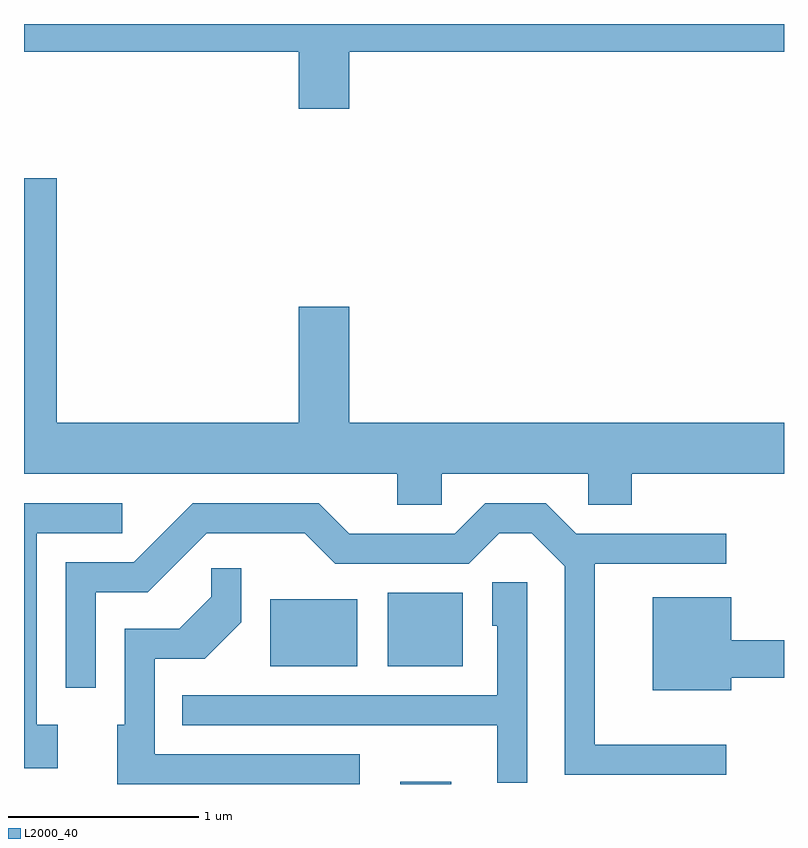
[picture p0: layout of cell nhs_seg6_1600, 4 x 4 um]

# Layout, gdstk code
import gdstk
lib = gdstk.Library(unit=1e-6, precision=1e-09)
def R(c, l, rs):  # rectangles x0, y0, x1, y1
    for r in rs: c.add(gdstk.rectangle(r[:2], r[2:], *l))
def P(c, l, *ps):  # polygons
    for p in ps: c.add(gdstk.Polygon(p, *l))
L2000_40 = (2000, 40)

nhs_seg6_1600 = lib.new_cell('nhs_seg6_1600')
R(nhs_seg6_1600, L2000_40, [(235.591,1566.162,235.859,1566.174), (234.906,1566.781,235.364,1567.134), (235.526,1566.781,235.919,1567.169)])
P(nhs_seg6_1600, L2000_40, [(235.324,1570.016),(237.611,1570.016),(237.611,1570.162),(233.611,1570.162),(233.611,1570.016),(235.056,1570.016),(235.056,1569.716),(235.324,1569.716)],
  [(235.809,1567.796),(236.581,1567.796),(236.581,1567.631),(236.809,1567.631),(236.809,1567.796),(237.611,1567.796),(237.611,1568.064),(235.324,1568.064),(235.324,1568.674),(235.056,1568.674),(235.056,1568.064),(233.784,1568.064),(233.784,1569.349),(233.611,1569.349),(233.611,1567.796),(235.576,1567.796),(235.576,1567.631),(235.809,1567.631)],
  [(237.308,1566.369),(236.614,1566.369),(236.614,1567.321),(237.308,1567.321),(237.308,1567.479),(236.517,1567.479),(236.357,1567.639),(236.039,1567.639),(235.879,1567.479),(235.322,1567.479),(235.162,1567.639),(234.499,1567.639),(234.189,1567.329),(233.831,1567.329),(233.831,1566.668),(233.989,1566.668),(233.989,1567.171),(234.262,1567.171),(234.572,1567.481),(235.089,1567.481),(235.249,1567.321),(235.952,1567.321),(236.112,1567.481),(236.284,1567.481),(236.456,1567.309),(236.456,1566.211),(237.308,1566.211)],
  [(233.789,1566.474),(233.679,1566.474),(233.679,1567.481),(234.128,1567.481),(234.128,1567.639),(233.611,1567.639),(233.611,1566.246),(233.789,1566.246)],
  [(235.379,1566.319),(234.299,1566.319),(234.299,1566.821),(234.562,1566.821),(234.754,1567.014),(234.754,1567.298),(234.596,1567.298),(234.596,1567.147),(234.429,1566.979),(234.141,1566.979),(234.141,1566.474),(234.101,1566.474),(234.101,1566.162),(235.379,1566.162)],
  [(236.259,1567.224),(236.076,1567.224),(236.076,1566.996),(236.101,1566.996),(236.101,1566.629),(234.443,1566.629),(234.443,1566.471),(236.101,1566.471),(236.101,1566.168),(236.259,1566.168)],
  [(237.334,1566.721),(237.611,1566.721),(237.611,1566.919),(237.334,1566.919),(237.334,1567.144),(236.921,1567.144),(236.921,1566.656),(237.334,1566.656)])

lib.write_gds('nhs_seg6_1600.gds')
